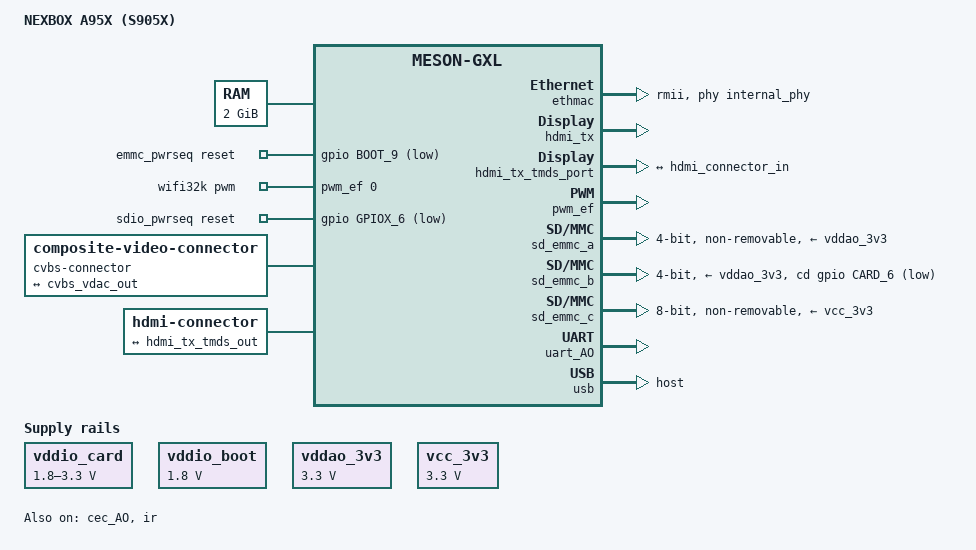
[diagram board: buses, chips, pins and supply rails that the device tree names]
// SPDX-License-Identifier: (GPL-2.0+ OR MIT)
/*
 * Copyright (c) 2016 Andreas Färber
 * Copyright (c) 2016 BayLibre, Inc.
 * Author: Neil Armstrong <narmstrong@kernel.org>
 */

/dts-v1/;

#include "meson-gxl-s905x.dtsi"

/ {
	compatible = "nexbox,a95x", "amlogic,s905x", "amlogic,meson-gxl";
	model = "NEXBOX A95X (S905X)";

	aliases {
		serial0 = &uart_AO;
		ethernet0 = &ethmac;
	};

	chosen {
		stdout-path = "serial0:115200n8";
	};

	memory@0 {
		device_type = "memory";
		reg = <0x0 0x0 0x0 0x80000000>;
	};

	vddio_card: gpio-regulator {
		compatible = "regulator-gpio";

		regulator-name = "VDDIO_CARD";
		regulator-min-microvolt = <1800000>;
		regulator-max-microvolt = <3300000>;

		gpios = <&gpio_ao GPIOAO_5 GPIO_ACTIVE_HIGH>;
		gpios-states = <1>;

		/* Based on P200 schematics, signal CARD_1.8V/3.3V_CTR */
		states = <1800000 0>,
			 <3300000 1>;
	};

	vddio_boot: regulator-vddio-boot {
		compatible = "regulator-fixed";
		regulator-name = "VDDIO_BOOT";
		regulator-min-microvolt = <1800000>;
		regulator-max-microvolt = <1800000>;
	};

	vddao_3v3: regulator-vddao-3v3 {
		compatible = "regulator-fixed";
		regulator-name = "VDDAO_3V3";
		regulator-min-microvolt = <3300000>;
		regulator-max-microvolt = <3300000>;
	};

	vcc_3v3: regulator-vcc-3v3 {
		compatible = "regulator-fixed";
		regulator-name = "VCC_3V3";
		regulator-min-microvolt = <3300000>;
		regulator-max-microvolt = <3300000>;
	};

	emmc_pwrseq: emmc-pwrseq {
		compatible = "mmc-pwrseq-emmc";
		reset-gpios = <&gpio BOOT_9 GPIO_ACTIVE_LOW>;
	};

	wifi32k: wifi32k {
		compatible = "pwm-clock";
		#clock-cells = <0>;
		clock-frequency = <32768>;
		pwms = <&pwm_ef 0 30518 0>; /* PWM_E at 32.768KHz */
	};

	sdio_pwrseq: sdio-pwrseq {
		compatible = "mmc-pwrseq-simple";
		reset-gpios = <&gpio GPIOX_6 GPIO_ACTIVE_LOW>;
		clocks = <&wifi32k>;
		clock-names = "ext_clock";
	};

	cvbs-connector {
		compatible = "composite-video-connector";

		port {
			cvbs_connector_in: endpoint {
				remote-endpoint = <&cvbs_vdac_out>;
			};
		};
	};

	hdmi-connector {
		compatible = "hdmi-connector";
		type = "a";

		port {
			hdmi_connector_in: endpoint {
				remote-endpoint = <&hdmi_tx_tmds_out>;
			};
		};
	};
};

&cec_AO {
	status = "okay";
	pinctrl-0 = <&ao_cec_pins>;
	pinctrl-names = "default";
	hdmi-phandle = <&hdmi_tx>;
};

&cvbs_vdac_port {
	cvbs_vdac_out: endpoint {
		remote-endpoint = <&cvbs_connector_in>;
	};
};

&ethmac {
	status = "okay";
	phy-mode = "rmii";
	phy-handle = <&internal_phy>;
};

&hdmi_tx {
	status = "okay";
	pinctrl-0 = <&hdmi_hpd_pins>, <&hdmi_i2c_pins>;
	pinctrl-names = "default";
};

&hdmi_tx_tmds_port {
	hdmi_tx_tmds_out: endpoint {
		remote-endpoint = <&hdmi_connector_in>;
	};
};

&ir {
	status = "okay";
	pinctrl-0 = <&remote_input_ao_pins>;
	pinctrl-names = "default";
};

&pwm_ef {
	status = "okay";
	pinctrl-0 = <&pwm_e_pins>;
	pinctrl-names = "default";
};

/* Wireless SDIO Module */
&sd_emmc_a {
	status = "okay";
	pinctrl-0 = <&sdio_pins>;
	pinctrl-1 = <&sdio_clk_gate_pins>;
	pinctrl-names = "default", "clk-gate";
	#address-cells = <1>;
	#size-cells = <0>;

	bus-width = <4>;
	cap-sd-highspeed;
	max-frequency = <100000000>;

	non-removable;
	disable-wp;

	/* WiFi firmware requires power to be kept while in suspend */
	keep-power-in-suspend;

	mmc-pwrseq = <&sdio_pwrseq>;

	vmmc-supply = <&vddao_3v3>;
	vqmmc-supply = <&vddio_boot>;
};

/* SD card */
&sd_emmc_b {
	status = "okay";
	pinctrl-0 = <&sdcard_pins>;
	pinctrl-1 = <&sdcard_clk_gate_pins>;
	pinctrl-names = "default", "clk-gate";

	bus-width = <4>;
	cap-sd-highspeed;
	max-frequency = <50000000>;
	disable-wp;

	cd-gpios = <&gpio CARD_6 GPIO_ACTIVE_LOW>;

	vmmc-supply = <&vddao_3v3>;
	vqmmc-supply = <&vddio_card>;
};

/* eMMC */
&sd_emmc_c {
	status = "okay";
	pinctrl-0 = <&emmc_pins>, <&emmc_ds_pins>;
	pinctrl-1 = <&emmc_clk_gate_pins>;
	pinctrl-names = "default", "clk-gate";

	bus-width = <8>;
	cap-mmc-highspeed;
	max-frequency = <200000000>;
	non-removable;
	disable-wp;
	mmc-ddr-1_8v;
	mmc-hs200-1_8v;

	mmc-pwrseq = <&emmc_pwrseq>;
	vmmc-supply = <&vcc_3v3>;
	vqmmc-supply = <&vddio_boot>;
};

&uart_AO {
	status = "okay";
	pinctrl-0 = <&uart_ao_a_pins>;
	pinctrl-names = "default";
};

&usb {
	status = "okay";
	dr_mode = "host";
};
